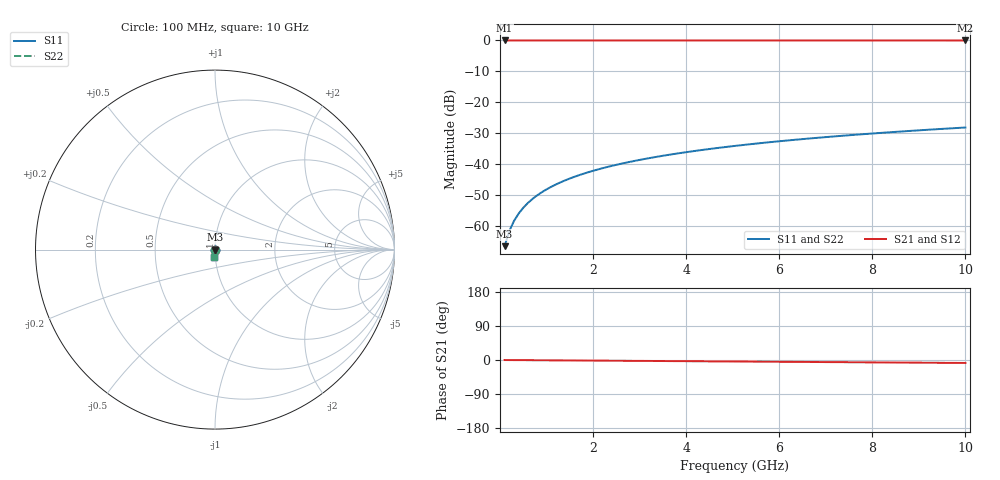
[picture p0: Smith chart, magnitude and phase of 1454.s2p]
# Hz S RI R 50.00
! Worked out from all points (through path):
!   100 points, 100 MHz to 10 GHz, reference 50 ohm
!   highest |S21| = 0.00 dB at 100 MHz (marker M1); lowest = 0.0 dB at 10 GHz (marker M2)
!   group delay of S21, straight-line fit = 2.18 ps
!   lowest |S11| = -66.6 dB at 100 MHz (marker M3), VSWR 1.00, Z = 50 - j0.0388 ohm
!   |S11| at or under -10 dB: start of sweep to end of sweep
!   |S22| runs from -66.6 to -28.2 dB; largest |S21 - S12| = 0
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1e8  0.000262 -0.000388  0.9997 -0.00136  0.9997 -0.00136  0.000262 -0.000388
2e8  0.000261 -0.000775  0.9997 -0.00272  0.9997 -0.00272  0.000261 -0.000775
3e8  0.000259 -0.00116  0.9997 -0.00408  0.9997 -0.00408  0.000259 -0.00116
4e8  0.000255 -0.00155  0.9997 -0.00544  0.9997 -0.00544  0.000255 -0.00155
5e8  0.000251 -0.00194  0.9997 -0.0068  0.9997 -0.0068  0.000251 -0.00194
6e8  0.000245 -0.00233  0.9997 -0.00816  0.9997 -0.00816  0.000245 -0.00233
7e8  0.000238 -0.00271  0.9997 -0.00952  0.9997 -0.00952  0.000238 -0.00271
8e8  0.00023 -0.0031  0.9997 -0.0109  0.9997 -0.0109  0.00023 -0.0031
9e8  0.000221 -0.00349  0.9996 -0.0122  0.9996 -0.0122  0.000221 -0.00349
1.1e9  0.000199 -0.00427  0.9996 -0.015  0.9996 -0.015  0.000199 -0.00427
1.4e9  0.000159 -0.00543  0.9995 -0.019  0.9995 -0.019  0.000159 -0.00543
1.8e9  8.98e-05 -0.00698  0.9994 -0.0245  0.9994 -0.0245  8.98e-05 -0.00698
2.1e9  2.68e-05 -0.00815  0.9993 -0.0286  0.9993 -0.0286  2.68e-05 -0.00815
2.5e9  -7.22e-05 -0.0097  0.9991 -0.034  0.9991 -0.034  -7.22e-05 -0.0097
2.9e9  -0.000188 -0.0113  0.9989 -0.0395  0.9989 -0.0395  -0.000188 -0.0113
3.4e9  -0.000357 -0.0132  0.9985 -0.0463  0.9985 -0.0463  -0.000357 -0.0132
4.2e9  -0.000684 -0.0163  0.9979 -0.0572  0.9979 -0.0572  -0.000684 -0.0163
5.1e9  -0.00113 -0.0198  0.9971 -0.0695  0.9971 -0.0695  -0.00113 -0.0198
5.9e9  -0.0016 -0.0229  0.9962 -0.0804  0.9962 -0.0804  -0.0016 -0.0229
6.7e9  -0.00215 -0.026  0.9951 -0.0913  0.9951 -0.0913  -0.00215 -0.026
8.4e9  -0.00352 -0.0325  0.9925 -0.1145  0.9925 -0.1145  -0.00352 -0.0325
1e10  -0.0051 -0.0386  0.9895 -0.1364  0.9895 -0.1364  -0.0051 -0.0386
